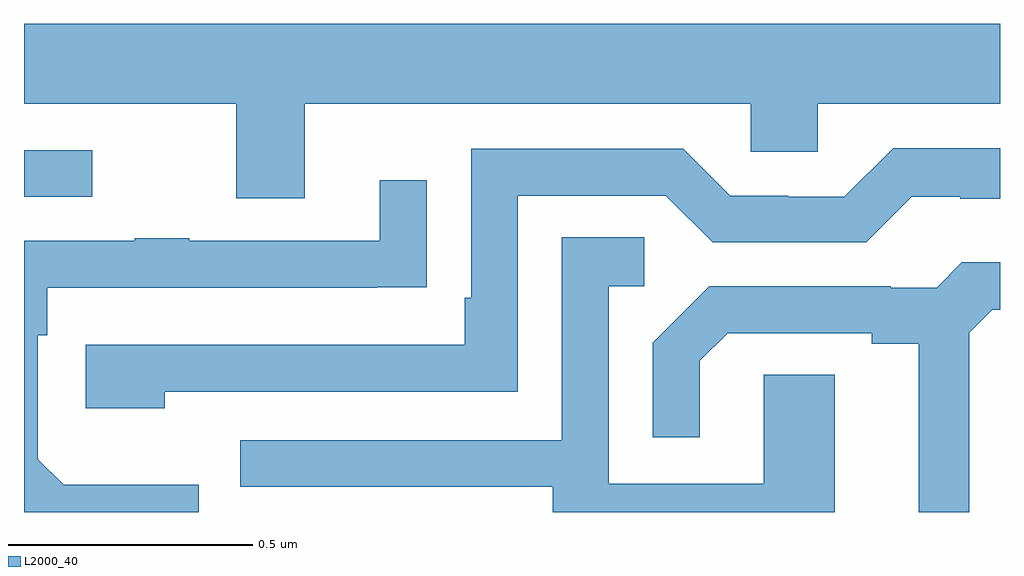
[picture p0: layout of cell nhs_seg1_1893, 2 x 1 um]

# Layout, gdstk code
import gdstk
lib = gdstk.Library(unit=1e-6, precision=1e-09)
def R(c, l, rs):  # rectangles x0, y0, x1, y1
    for r in rs: c.add(gdstk.rectangle(r[:2], r[2:], *l))
def P(c, l, *ps):  # polygons
    for p in ps: c.add(gdstk.Polygon(p, *l))
L2000_40 = (2000, 40)

nhs_seg1_1893 = lib.new_cell('nhs_seg1_1893')
R(nhs_seg1_1893, L2000_40, [(134,580.845,134.14,580.941)])
P(nhs_seg1_1893, L2000_40, [(134.575,581.036),(135.489,581.036),(135.489,580.938),(135.627,580.938),(135.627,581.036),(136,581.036),(136,581.2),(134,581.2),(134,581.036),(134.435,581.036),(134.435,580.842),(134.575,580.842)],
  [(134.288,580.446),(135.012,580.446),(135.012,580.848),(135.315,580.848),(135.411,580.752),(135.726,580.752),(135.819,580.845),(135.919,580.845),(135.919,580.841),(136,580.841),(136,580.945),(135.781,580.945),(135.681,580.845),(135.566,580.845),(135.566,580.848),(135.447,580.848),(135.351,580.944),(134.916,580.944),(134.916,580.639),(134.903,580.639),(134.903,580.542),(134.127,580.542),(134.127,580.412),(134.288,580.412)],
  [(134.358,580.255),(134.081,580.255),(134.028,580.308),(134.028,580.562),(134.048,580.562),(134.048,580.659),(134.723,580.659),(134.723,580.66),(134.825,580.66),(134.825,580.879),(134.729,580.879),(134.729,580.755),(134.339,580.755),(134.339,580.76),(134.227,580.76),(134.227,580.755),(134,580.755),(134,580.199),(134.358,580.199)],
  [(135.661,580.481),(135.516,580.481),(135.516,580.257),(135.198,580.257),(135.198,580.662),(135.271,580.662),(135.271,580.763),(135.102,580.763),(135.102,580.347),(134.443,580.347),(134.443,580.251),(135.083,580.251),(135.083,580.199),(135.661,580.199)],
  [(135.937,580.567),(135.984,580.614),(136,580.614),(136,580.711),(135.922,580.711),(135.87,580.659),(135.776,580.659),(135.776,580.662),(135.404,580.662),(135.288,580.546),(135.288,580.353),(135.385,580.353),(135.385,580.509),(135.442,580.566),(135.737,580.566),(135.737,580.544),(135.833,580.544),(135.833,580.199),(135.937,580.199)])

lib.write_gds('nhs_seg1_1893.gds')
